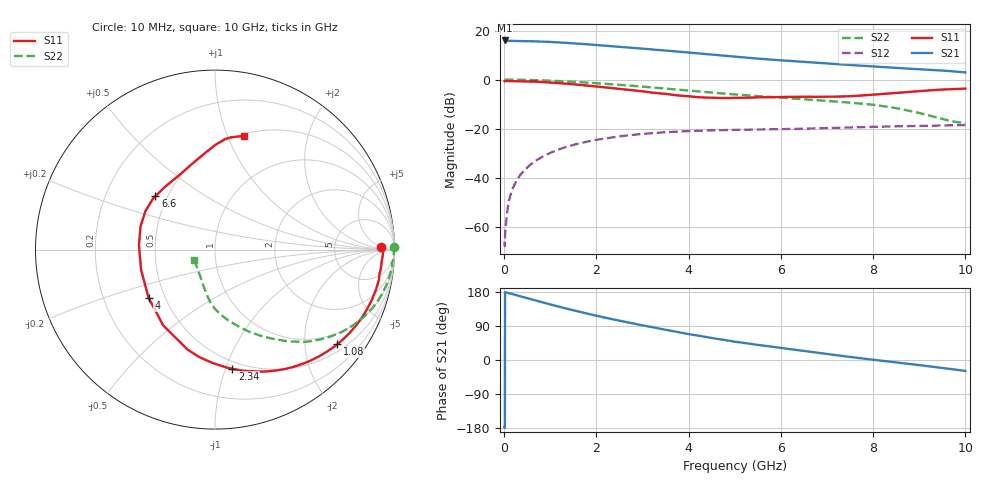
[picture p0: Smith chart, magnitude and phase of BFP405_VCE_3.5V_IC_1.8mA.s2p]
! Infineon Technologies  Discrete & RF Semiconductors
! BFP405
! VCE =  3.5 V,  IC =  1.8 mA
! Common Emitter S-Parameters:  Jan 2016
# GHz  S  MA  R  50
!  f  S11  S21  S12  S22
! GHz  MAG  ANG  MAG  ANG  MAG  ANG  MAG  ANG
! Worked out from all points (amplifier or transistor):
!   233 points, 10 MHz to 10 GHz, reference 50 ohm
!   highest |S21| = 16.0 dB at 10 MHz (marker M1)
!   |S21| within 3 dB of that: start of sweep to 2.772 GHz
!   unconditionally stable (mu >= 1): 4.564 GHz to end of sweep
!   at 200 MHz: K = 0.06, MSG = 29.8 dB, |S12| = -43.7 dB
!   at 1.74 GHz: K = 0.29, MSG = 20.0 dB, |S12| = -25.5 dB
!   at 10 GHz: K = 1.71, MAG = 5.8 dB, |S12| = -18.5 dB
!   S11 on the Smith chart (normalised r, x): 10 MHz: 25, +5; 1.08 GHz: 0.68, -2.78; 2.34 GHz: 0.44, -1.06; 4 GHz: 0.41, -0.28; 6.6 GHz: 0.43, +0.32; 10 GHz: 0.52, +1.15
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0.01  0.9259 0.9  6.282 -177.4  0.0005 -22.6  1 0.8
0.015  0.9314 0.2  6.221 -179.3  0.0004 41.4  0.9965 0.5
0.02  0.9371 -0.5  6.166 178.8  0.0007 81.4  0.9931 0.2
0.06  0.9351 -2.2  6.139 178.0  0.0018 90.7  0.9967 -0.7
0.105  0.9312 -3.6  6.168 176.1  0.0034 84.4  0.9966 -1.7
0.24  0.9265 -8.2  6.167 171.8  0.0078 84.5  0.9877 -4.3
0.62  0.9092 -21.7  6.044 159.2  0.02 78.4  0.9776 -10.8
0.82  0.8911 -28.6  5.967 152.5  0.0264 75.0  0.9651 -14.3
1.08  0.8623 -37.7  5.812 144.1  0.0345 70.1  0.9445 -18.8
1.4  0.818 -48.9  5.575 134.2  0.0437 64.2  0.9125 -23.9
1.68  0.7756 -58.6  5.347 125.9  0.0513 59.1  0.8817 -28.2
2  0.7244 -69.8  5.07 116.8  0.059 53.5  0.844 -32.8
2.34  0.6708 -81.7  4.784 107.8  0.0662 47.9  0.8021 -37.3
2.8  0.6055 -98.3  4.429 96.3  0.0748 41.1  0.7445 -43.1
3.4  0.5196 -120.3  3.982 82.0  0.0831 32.6  0.6671 -50.2
4  0.4572 -144.1  3.572 68.3  0.0891 25.2  0.5947 -56.9
4.5  0.4271 -164.7  3.244 57.9  0.0924 19.8  0.5424 -62.2
5.1  0.4242 173.9  2.883 46.7  0.0946 14.6  0.4898 -68.0
6.6  0.4456 138.1  2.266 22.3  0.1002 5.9  0.391 -80.8
6.8  0.4447 133.4  2.198 19.1  0.1013 4.9  0.379 -82.5
8.4  0.528 98.1  1.755 -5.0  0.1107 -3.8  0.2708 -98.1
10  0.654 75.6  1.401 -28.8  0.1182 -11.9  0.1292 -152.4
